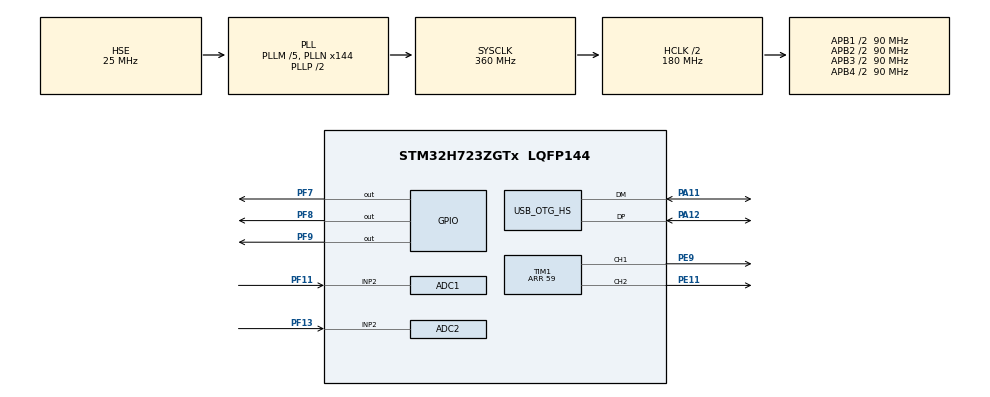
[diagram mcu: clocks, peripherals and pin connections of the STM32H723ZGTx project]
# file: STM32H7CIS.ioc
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ADC1.BoostMode=ENABLE
ADC1.Channel-0\#ChannelRegularConversion=ADC_CHANNEL_2
ADC1.ClockPrescaler=ADC_CLOCK_ASYNC_DIV1
ADC1.ContinuousConvMode=DISABLE
ADC1.ConversionDataManagement=ADC_CONVERSIONDATA_DMA_CIRCULAR
ADC1.EnableMultiSlaveMode=true
ADC1.ExternalTrigConv=ADC_EXTERNALTRIG_T1_TRGO
ADC1.ExternalTrigConvEdge=ADC_EXTERNALTRIGCONVEDGE_RISING
ADC1.Mode=ADC_MODE_INDEPENDENT
ADC1.NbrOfConversionFlag=1
ADC1.OffsetNumber-0\#ChannelRegularConversion=ADC_OFFSET_NONE
ADC1.OffsetSignedSaturation-0\#ChannelRegularConversion=DISABLE
ADC1.Rank-0\#ChannelRegularConversion=1
ADC1.Resolution=ADC_RESOLUTION_8B
ADC1.SamplingTime-0\#ChannelRegularConversion=ADC_SAMPLETIME_2CYCLES_5
ADC1.master=1
ADC2.BoostMode=ENABLE
ADC2.Channel-0\#ChannelRegularConversion=ADC_CHANNEL_2
ADC2.ClockPrescaler=ADC_CLOCK_ASYNC_DIV1
ADC2.ContinuousConvMode=DISABLE
ADC2.ConversionDataManagement=ADC_CONVERSIONDATA_DMA_CIRCULAR
ADC2.ExternalTrigConv=ADC_EXTERNALTRIG_T1_TRGO
ADC2.NbrOfConversion=1
ADC2.NbrOfConversionFlag=1
ADC2.OffsetNumber-0\#ChannelRegularConversion=ADC_OFFSET_NONE
ADC2.OffsetSignedSaturation-0\#ChannelRegularConversion=DISABLE
ADC2.Rank-0\#ChannelRegularConversion=1
ADC2.Resolution=ADC_RESOLUTION_8B
ADC2.SamplingTime-0\#ChannelRegularConversion=ADC_SAMPLETIME_2CYCLES_5
CORTEX_M7.default_mode_Activation=1
Dma.ADC1.0.Direction=DMA_PERIPH_TO_MEMORY
Dma.ADC1.0.EventEnable=DISABLE
Dma.ADC1.0.FIFOMode=DMA_FIFOMODE_DISABLE
Dma.ADC1.0.Instance=DMA1_Stream0
Dma.ADC1.0.MemDataAlignment=DMA_MDATAALIGN_HALFWORD
Dma.ADC1.0.MemInc=DMA_MINC_ENABLE
Dma.ADC1.0.Mode=DMA_CIRCULAR
Dma.ADC1.0.PeriphDataAlignment=DMA_PDATAALIGN_HALFWORD
Dma.ADC1.0.PeriphInc=DMA_PINC_DISABLE
Dma.ADC1.0.Polarity=HAL_DMA_TRANSFER_ALL
Dma.ADC1.0.Priority=DMA_PRIORITY_VERY_HIGH
Dma.ADC1.0.RequestNumber=1
Dma.ADC1.0.SignalID=NONE
Dma.ADC1.0.SyncEnable=DISABLE
Dma.ADC1.0.SyncPolarity=HAL_DMAMUX_SYNC_NO_EVENT
Dma.ADC1.0.SyncRequestNumber=1
Dma.ADC1.0.SyncSignalID=NONE
Dma.ADC2.1.Direction=DMA_PERIPH_TO_MEMORY
Dma.ADC2.1.EventEnable=DISABLE
Dma.ADC2.1.FIFOMode=DMA_FIFOMODE_DISABLE
Dma.ADC2.1.Instance=DMA1_Stream1
Dma.ADC2.1.MemDataAlignment=DMA_MDATAALIGN_HALFWORD
Dma.ADC2.1.MemInc=DMA_MINC_ENABLE
Dma.ADC2.1.Mode=DMA_CIRCULAR
Dma.ADC2.1.PeriphDataAlignment=DMA_PDATAALIGN_HALFWORD
Dma.ADC2.1.PeriphInc=DMA_PINC_DISABLE
Dma.ADC2.1.Polarity=HAL_DMA_TRANSFER_ALL
Dma.ADC2.1.Priority=DMA_PRIORITY_VERY_HIGH
Dma.ADC2.1.RequestNumber=1
Dma.ADC2.1.SignalID=NONE
Dma.ADC2.1.SyncEnable=DISABLE
Dma.ADC2.1.SyncPolarity=HAL_DMAMUX_SYNC_NO_EVENT
Dma.ADC2.1.SyncRequestNumber=1
Dma.ADC2.1.SyncSignalID=NONE
Dma.Request0=ADC1
Dma.Request1=ADC2
Mcu.Family=STM32H7
Mcu.Name=STM32H723ZGTx
Mcu.Package=LQFP144
NVIC.ADC_IRQn=true\:0\:0\:false\:false\:true\:false\:true\:true
NVIC.DMA1_Stream0_IRQn=true\:0\:0\:false\:false\:true\:false\:true\:true
NVIC.DMA1_Stream1_IRQn=true\:0\:0\:false\:false\:true\:false\:true\:true
NVIC.OTG_HS_IRQn=true\:0\:0\:false\:false\:true\:false\:true\:true
NVIC.PriorityGroup=NVIC_PRIORITYGROUP_4
PA11.Mode=Device_Only_FS
PA11.Signal=USB_OTG_HS_DM
PA12.Mode=Device_Only_FS
PA12.Signal=USB_OTG_HS_DP
PC14-OSC32_IN.Mode=LSE-External-Oscillator
PC14-OSC32_IN.Signal=RCC_OSC32_IN
PC15-OSC32_OUT.Mode=LSE-External-Oscillator
PC15-OSC32_OUT.Signal=RCC_OSC32_OUT
PE11.Signal=S_TIM1_CH2
PE9.Signal=S_TIM1_CH1
PF11.Mode=IN2-Single-Ended
PF11.Signal=ADC1_INP2
PF13.Mode=IN2-Single-Ended
PF13.Signal=ADC2_INP2
PF7.Signal=GPIO_Output
PF8.Signal=GPIO_Output
PF9.Signal=GPIO_Output
PH0-OSC_IN.Mode=HSE-External-Oscillator
PH0-OSC_IN.Signal=RCC_OSC_IN
PH1-OSC_OUT.Mode=HSE-External-Oscillator
PH1-OSC_OUT.Signal=RCC_OSC_OUT
ProjectManager.HeapSize=0x200
ProjectManager.StackSize=0x400
ProjectManager.TargetToolchain=STM32CubeIDE
RCC.ADCFreq_Value=50000000
RCC.APB1Freq_Value=90000000
RCC.APB2Freq_Value=90000000
RCC.APB3Freq_Value=90000000
RCC.APB4Freq_Value=90000000
RCC.CortexFreq_Value=360000000
RCC.D1PPRE=RCC_APB3_DIV2
RCC.D2PPRE1=RCC_APB1_DIV2
RCC.D2PPRE2=RCC_APB2_DIV2
RCC.D3PPRE=RCC_APB4_DIV2
RCC.DIVM1=5
RCC.DIVM2=5
RCC.DIVN1=144
RCC.DIVN2=40
RCC.DIVP2=4
RCC.DIVQ1=5
RCC.HCLKFreq_Value=180000000
RCC.HPRE=RCC_HCLK_DIV2
RCC.HSE_VALUE=25000000
RCC.PLL2FRACN=0
RCC.PLLFRACN=0
RCC.PLLSourceVirtual=RCC_PLLSOURCE_HSE
RCC.SYSCLKFreq_VALUE=360000000
RCC.SYSCLKSource=RCC_SYSCLKSOURCE_PLLCLK
RCC.USBCLockSelection=RCC_USBCLKSOURCE_HSI48
RCC.USBFreq_Value=48000000
SH.S_TIM1_CH1.0=TIM1_CH1,PWM Generation1 CH1
SH.S_TIM1_CH2.0=TIM1_CH2,PWM Generation2 CH2
TIM1.AutoReloadPreload=TIM_AUTORELOAD_PRELOAD_ENABLE
TIM1.Channel-PWM\ Generation1\ CH1=TIM_CHANNEL_1
TIM1.Channel-PWM\ Generation2\ CH2=TIM_CHANNEL_2
TIM1.Period=59
TIM1.Pulse-PWM\ Generation1\ CH1=30
TIM1.Pulse-PWM\ Generation2\ CH2=30
TIM1.TIM_MasterOutputTrigger=TIM_TRGO_UPDATE
TIM1.TIM_MasterSlaveMode=TIM_MASTERSLAVEMODE_DISABLE
USB_DEVICE.CLASS_NAME_HS=CDC
USB_DEVICE.VirtualMode=Cdc
USB_DEVICE.VirtualModeHS=Cdc_HS
USB_OTG_HS.VirtualMode-Device_Only_FS=Device_Only_FS
VP_MEMORYMAP_VS_MEMORYMAP.Mode=CurAppReg
VP_TIM1_VS_ClockSourceINT.Mode=Internal
VP_USB_DEVICE_VS_USB_DEVICE_CDC_HS.Mode=CDC_HS
board=custom

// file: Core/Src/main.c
/* USER CODE BEGIN Header */
/**
  ******************************************************************************
  * @file           : main.c
  * @brief          : Main program body
  *
  * CIS scanner front-end (STM32H723 @ 360 MHz SYSCLK / 180 MHz TIM1 kernel).
  *
  * Timing summary:
  *   TIM1 kernel clock ........ 180 MHz  (SYSCLK 360 -> AHB /2 -> APB2 /2 -> x2)
  *   TIM1 update rate ......... 3 MHz    (ARR = 59  ->  180 / 60)
  *   ADC trigger (T1_TRGO) .... 3 MHz    (one conversion per update)
  *   CLK on PE9 / TIM1_CH1 .... 1.5 MHz  (toggle mode: one toggle per update)
  *   Trigger on PE11/TIM1_CH2.. DMA-shaped pulse, N update periods wide
  *
  * The CLK is a free-running 1.5 MHz square wave generated purely in hardware
  * (output-compare toggle) and phase-locked to the ADC sampling instants.
  * The line-start trigger is shaped by a single TIM1_UP -> CCR2 DMA stream.
  ******************************************************************************
  */
/* USER CODE END Header */
#include "main.h"
#include "usb_device.h"

/* USER CODE BEGIN Includes */
#include "usbd_cdc_if.h"
/* USER CODE END Includes */

ADC_HandleTypeDef hadc1;
ADC_HandleTypeDef hadc2;
DMA_HandleTypeDef hdma_adc1;
DMA_HandleTypeDef hdma_adc2;

TIM_HandleTypeDef htim1;

/* USER CODE BEGIN PV */

#define ADC_BUF_LEN 10200u            /* samples PER channel (half a line)     */

/* Buffers live in DTCM (0x20000000) -> not cached, so NO cache maintenance
 * needed. The linker section ".dtcmram" exists in the default STM32H7 ld file
 * (RAM_DTCM). If your .ld names it differently, adjust the section string.    */
__attribute__((section(".dtcmram"), aligned(32)))
uint16_t adc1_buf[ADC_BUF_LEN];       /* AN_1 / sensor half 1                  */
__attribute__((section(".dtcmram"), aligned(32)))
uint16_t adc2_buf[ADC_BUF_LEN];       /* AN_2 / sensor half 2                  */

volatile uint8_t  g_capture_request = 0;   /* set by USB 's' command           */
volatile uint8_t  g_buffer_ready    = 0;   /* set by ADC1 DMA-complete ISR     */

/* Trigger pulse width, expressed in TIM1 UPDATE periods (not CLK cycles).
 * CLK = 1.5 MHz = one full cycle per 2 update periods, so:
 *     16 CLK cycles  =  32 update periods  ->  g_trigger_width = 32            */
volatile uint16_t g_trigger_width   = 32;  /* 16 CLK cycles high                */

/* --- Multi-cycle trigger pulse (PE11 / TIM1_CH2) ------------------------- */
/* The trigger can stay high for a whole number of UPDATE periods. A DMA stream
 * fed by the TIM1 update event rewrites CCR2 once per update:
 *   N entries of (ARR+1) = 100 % duty (pin high the whole period),
 *   then one 0 entry that drops the pin.
 * Pulse width is therefore exactly N update periods, hardware-timed, no ISR.  */
#define TRIG_MAX_CYCLES 1024u         /* upper bound for the pulse length      */

/* NOTE: this buffer is read by DMA1 (D2 domain), which CANNOT access DTCM on
 * the H7 - so unlike the ADC buffers above it must stay in default RAM
 * (RAM_D1 / AXI SRAM in the stock CubeMX .ld). D-cache is disabled in this
 * project, so no cache maintenance is required either.                       */
static uint16_t trig_dma_buf[TRIG_MAX_CYCLES + 1u];
static DMA_HandleTypeDef hdma_tim1_up;   /* DMA1_Stream2 <- TIM1_UP -> CCR2    */
/* USER CODE END PV */

void SystemClock_Config(void);
void PeriphCommonClock_Config(void);
static void MPU_Config(void);
static void MX_GPIO_Init(void);
static void MX_DMA_Init(void);
static void MX_ADC1_Init(void);
static void MX_ADC2_Init(void);
static void MX_TIM1_Init(void);
/* USER CODE BEGIN PFP */
void CIS_StartCapture(void);
void CIS_SetLED(char color);
void CIS_FireTrigger(uint16_t width_periods);
static void CIS_TriggerDMA_Init(void);
/* USER CODE END PFP */

int main(void)
{

  /* MPU Configuration--------------------------------------------------------*/
  MPU_Config();

  /* MCU Configuration--------------------------------------------------------*/

  /* Reset of all peripherals, Initializes the Flash interface and the Systick. */
  HAL_Init();

  /* Configure the system clock */
  SystemClock_Config();

  /* Configure the peripherals common clocks */
  PeriphCommonClock_Config();

  /* Initialize all configured peripherals */
  MX_GPIO_Init();
  MX_DMA_Init();
  MX_ADC1_Init();
  MX_ADC2_Init();
  MX_TIM1_Init();
  MX_USB_DEVICE_Init();
  /* USER CODE BEGIN 2 */
  HAL_ADCEx_Calibration_Start(&hadc1, ADC_CALIB_OFFSET, ADC_SINGLE_ENDED);
  HAL_ADCEx_Calibration_Start(&hadc2, ADC_CALIB_OFFSET, ADC_SINGLE_ENDED);

  /* One-time init of the trigger DMA (TIM1_UP -> CCR2). Note: the TIM update
   * DMA request (UDE) is left DISABLED here; CIS_FireTrigger() enables it only
   * for the duration of a pulse.                                             */
  CIS_TriggerDMA_Init();

  /* CLK on PE9 (TIM1_CH1, toggle mode): free-running 1.5 MHz, always on.     */
  HAL_TIM_OC_Start(&htim1, TIM_CHANNEL_1);

  /* Trigger on PE11 (TIM1_CH2): idle low until a line is requested.          */
  __HAL_TIM_SET_COMPARE(&htim1, TIM_CHANNEL_2, 0);   /* 0 width = no pulse yet */
  HAL_TIM_PWM_Start(&htim1, TIM_CHANNEL_2);

  /* LEDs off initially (active-low drive: SET = off). */
  HAL_GPIO_WritePin(GPIOF, GPIO_PIN_7|GPIO_PIN_8|GPIO_PIN_9, GPIO_PIN_SET);

  /* Start the timer base last: this begins the 3 MHz update stream that drives
   * both the ADC trigger (T1_TRGO) and the 1.5 MHz CLK toggle.               */
  HAL_TIM_Base_Start(&htim1);
  /* USER CODE END 2 */

  /* Infinite loop */
  /* USER CODE BEGIN WHILE */
  while (1)
  {
    /* A capture was requested by the PC ('s' command) */
    if (g_capture_request)
    {
      g_capture_request = 0;
      CIS_StartCapture();
    }

    /* The dual-ADC DMA finished filling both halves */
    if (g_buffer_ready)
    {
      g_buffer_ready = 0;

      /* DTCM buffers are not cached -> data is already coherent, no invalidate.
       * Stream both halves back over USB CDC. CDC_Transmit_HS may return BUSY
       * while a previous packet is in flight, so we retry.                    */
      while (CDC_Transmit_HS((uint8_t*)adc1_buf, ADC_BUF_LEN * 2) == USBD_BUSY) { }
      while (CDC_Transmit_HS((uint8_t*)adc2_buf, ADC_BUF_LEN * 2) == USBD_BUSY) { }
    }
    /* USER CODE END WHILE */

  }
}

void SystemClock_Config(void)
{
  RCC_OscInitTypeDef RCC_OscInitStruct = {0};
  RCC_ClkInitTypeDef RCC_ClkInitStruct = {0};

  /** Supply configuration update enable
  */
  HAL_PWREx_ConfigSupply(PWR_LDO_SUPPLY);

  /** Configure the main internal regulator output voltage
  */
  __HAL_PWR_VOLTAGESCALING_CONFIG(PWR_REGULATOR_VOLTAGE_SCALE1);

  while(!__HAL_PWR_GET_FLAG(PWR_FLAG_VOSRDY)) {}

  /** Initializes the RCC Oscillators according to the specified parameters
  * in the RCC_OscInitTypeDef structure.
  */
  RCC_OscInitStruct.OscillatorType = RCC_OSCILLATORTYPE_HSI48|RCC_OSCILLATORTYPE_HSE;
  RCC_OscInitStruct.HSEState = RCC_HSE_ON;
  RCC_OscInitStruct.HSI48State = RCC_HSI48_ON;
  RCC_OscInitStruct.PLL.PLLState = RCC_PLL_ON;
  RCC_OscInitStruct.PLL.PLLSource = RCC_PLLSOURCE_HSE;
  RCC_OscInitStruct.PLL.PLLM = 5;
  RCC_OscInitStruct.PLL.PLLN = 144;
  RCC_OscInitStruct.PLL.PLLP = 2;
  RCC_OscInitStruct.PLL.PLLQ = 5;
  RCC_OscInitStruct.PLL.PLLR = 2;
  RCC_OscInitStruct.PLL.PLLRGE = RCC_PLL1VCIRANGE_2;
  RCC_OscInitStruct.PLL.PLLVCOSEL = RCC_PLL1VCOWIDE;
  RCC_OscInitStruct.PLL.PLLFRACN = 0;
  if (HAL_RCC_OscConfig(&RCC_OscInitStruct) != HAL_OK)
  {
    Error_Handler();
  }

  /** Initializes the CPU, AHB and APB buses clocks
  */
  RCC_ClkInitStruct.ClockType = RCC_CLOCKTYPE_HCLK|RCC_CLOCKTYPE_SYSCLK
                              |RCC_CLOCKTYPE_PCLK1|RCC_CLOCKTYPE_PCLK2
                              |RCC_CLOCKTYPE_D3PCLK1|RCC_CLOCKTYPE_D1PCLK1;
  RCC_ClkInitStruct.SYSCLKSource = RCC_SYSCLKSOURCE_PLLCLK;
  RCC_ClkInitStruct.SYSCLKDivider = RCC_SYSCLK_DIV1;
  RCC_ClkInitStruct.AHBCLKDivider = RCC_HCLK_DIV2;
  RCC_ClkInitStruct.APB3CLKDivider = RCC_APB3_DIV2;
  RCC_ClkInitStruct.APB1CLKDivider = RCC_APB1_DIV2;
  RCC_ClkInitStruct.APB2CLKDivider = RCC_APB2_DIV2;
  RCC_ClkInitStruct.APB4CLKDivider = RCC_APB4_DIV2;

  if (HAL_RCC_ClockConfig(&RCC_ClkInitStruct, FLASH_LATENCY_2) != HAL_OK)
  {
    Error_Handler();
  }
}

void PeriphCommonClock_Config(void)
{
  RCC_PeriphCLKInitTypeDef PeriphClkInitStruct = {0};

  /** Initializes the peripherals clock
  */
  PeriphClkInitStruct.PeriphClockSelection = RCC_PERIPHCLK_ADC;
  PeriphClkInitStruct.PLL2.PLL2M = 5;
  PeriphClkInitStruct.PLL2.PLL2N = 40;
  PeriphClkInitStruct.PLL2.PLL2P = 4;
  PeriphClkInitStruct.PLL2.PLL2Q = 2;
  PeriphClkInitStruct.PLL2.PLL2R = 2;
  PeriphClkInitStruct.PLL2.PLL2RGE = RCC_PLL2VCIRANGE_2;
  PeriphClkInitStruct.PLL2.PLL2VCOSEL = RCC_PLL2VCOWIDE;
  PeriphClkInitStruct.PLL2.PLL2FRACN = 0;
  PeriphClkInitStruct.AdcClockSelection = RCC_ADCCLKSOURCE_PLL2;
  if (HAL_RCCEx_PeriphCLKConfig(&PeriphClkInitStruct) != HAL_OK)
  {
    Error_Handler();
  }
}

static void MX_ADC1_Init(void)
{

  ADC_MultiModeTypeDef multimode = {0};
  ADC_ChannelConfTypeDef sConfig = {0};

  /** Common config
  */
  hadc1.Instance = ADC1;
  hadc1.Init.ClockPrescaler = ADC_CLOCK_ASYNC_DIV1;
  hadc1.Init.Resolution = ADC_RESOLUTION_8B;
  hadc1.Init.ScanConvMode = ADC_SCAN_DISABLE;
  hadc1.Init.EOCSelection = ADC_EOC_SINGLE_CONV;
  hadc1.Init.LowPowerAutoWait = DISABLE;
  hadc1.Init.ContinuousConvMode = DISABLE;
  hadc1.Init.NbrOfConversion = 1;
  hadc1.Init.DiscontinuousConvMode = DISABLE;
  hadc1.Init.ExternalTrigConv = ADC_EXTERNALTRIG_T1_TRGO;
  hadc1.Init.ExternalTrigConvEdge = ADC_EXTERNALTRIGCONVEDGE_RISING;
  hadc1.Init.ConversionDataManagement = ADC_CONVERSIONDATA_DMA_CIRCULAR;
  hadc1.Init.Overrun = ADC_OVR_DATA_PRESERVED;
  hadc1.Init.LeftBitShift = ADC_LEFTBITSHIFT_NONE;
  hadc1.Init.OversamplingMode = DISABLE;
  hadc1.Init.Oversampling.Ratio = 1;
  if (HAL_ADC_Init(&hadc1) != HAL_OK)
  {
    Error_Handler();
  }

  /** Configure the ADC multi-mode
  */
  multimode.Mode = ADC_MODE_INDEPENDENT;
  if (HAL_ADCEx_MultiModeConfigChannel(&hadc1, &multimode) != HAL_OK)
  {
    Error_Handler();
  }

  /** Configure Regular Channel
  */
  sConfig.Channel = ADC_CHANNEL_2;
  sConfig.Rank = ADC_REGULAR_RANK_1;
  sConfig.SamplingTime = ADC_SAMPLETIME_2CYCLES_5;
  sConfig.SingleDiff = ADC_SINGLE_ENDED;
  sConfig.OffsetNumber = ADC_OFFSET_NONE;
  sConfig.Offset = 0;
  sConfig.OffsetSignedSaturation = DISABLE;
  if (HAL_ADC_ConfigChannel(&hadc1, &sConfig) != HAL_OK)
  {
    Error_Handler();
  }

}

static void MX_ADC2_Init(void)
{

  ADC_ChannelConfTypeDef sConfig = {0};

  /** Common config
  */
  hadc2.Instance = ADC2;
  hadc2.Init.ClockPrescaler = ADC_CLOCK_ASYNC_DIV1;
  hadc2.Init.Resolution = ADC_RESOLUTION_8B;
  hadc2.Init.ScanConvMode = ADC_SCAN_DISABLE;
  hadc2.Init.EOCSelection = ADC_EOC_SINGLE_CONV;
  hadc2.Init.LowPowerAutoWait = DISABLE;
  hadc2.Init.ContinuousConvMode = DISABLE;
  hadc2.Init.NbrOfConversion = 1;
  hadc2.Init.DiscontinuousConvMode = DISABLE;
  hadc2.Init.ExternalTrigConv = ADC_EXTERNALTRIG_T1_TRGO;
  hadc2.Init.ExternalTrigConvEdge = ADC_EXTERNALTRIGCONVEDGE_RISING;
  hadc2.Init.ConversionDataManagement = ADC_CONVERSIONDATA_DMA_CIRCULAR;
  hadc2.Init.Overrun = ADC_OVR_DATA_PRESERVED;
  hadc2.Init.LeftBitShift = ADC_LEFTBITSHIFT_NONE;
  hadc2.Init.OversamplingMode = DISABLE;
  hadc2.Init.Oversampling.Ratio = 1;
  if (HAL_ADC_Init(&hadc2) != HAL_OK)
  {
    Error_Handler();
  }

  /** Configure Regular Channel
  */
  sConfig.Channel = ADC_CHANNEL_2;
  sConfig.Rank = ADC_REGULAR_RANK_1;
  sConfig.SamplingTime = ADC_SAMPLETIME_2CYCLES_5;
  sConfig.SingleDiff = ADC_SINGLE_ENDED;
  sConfig.OffsetNumber = ADC_OFFSET_NONE;
  sConfig.Offset = 0;
  sConfig.OffsetSignedSaturation = DISABLE;
  if (HAL_ADC_ConfigChannel(&hadc2, &sConfig) != HAL_OK)
  {
    Error_Handler();
  }

}

static void MX_TIM1_Init(void)
{

  TIM_ClockConfigTypeDef sClockSourceConfig = {0};
  TIM_MasterConfigTypeDef sMasterConfig = {0};
  TIM_OC_InitTypeDef sConfigOC = {0};
  TIM_BreakDeadTimeConfigTypeDef sBreakDeadTimeConfig = {0};

  htim1.Instance = TIM1;
  htim1.Init.Prescaler = 0;
  htim1.Init.CounterMode = TIM_COUNTERMODE_UP;
  htim1.Init.Period = 59;
  htim1.Init.ClockDivision = TIM_CLOCKDIVISION_DIV1;
  htim1.Init.RepetitionCounter = 0;
  htim1.Init.AutoReloadPreload = TIM_AUTORELOAD_PRELOAD_ENABLE;
  if (HAL_TIM_Base_Init(&htim1) != HAL_OK)
  {
    Error_Handler();
  }
  sClockSourceConfig.ClockSource = TIM_CLOCKSOURCE_INTERNAL;
  if (HAL_TIM_ConfigClockSource(&htim1, &sClockSourceConfig) != HAL_OK)
  {
    Error_Handler();
  }
  if (HAL_TIM_PWM_Init(&htim1) != HAL_OK)
  {
    Error_Handler();
  }
  if (HAL_TIM_OC_Init(&htim1) != HAL_OK)
  {
    Error_Handler();
  }
  sMasterConfig.MasterOutputTrigger = TIM_TRGO_UPDATE;
  sMasterConfig.MasterOutputTrigger2 = TIM_TRGO2_RESET;
  sMasterConfig.MasterSlaveMode = TIM_MASTERSLAVEMODE_DISABLE;
  if (HAL_TIMEx_MasterConfigSynchronization(&htim1, &sMasterConfig) != HAL_OK)
  {
    Error_Handler();
  }

  /* CH1 (PE9) - CLK: toggle mode. Output flips once per update event, so the
   * pin runs at half the 3 MHz update rate = 1.5 MHz, 50 % duty. The compare
   * value only sets the phase of the toggle within the period; keep it away
   * from 0/ARR so the edge doesn't coincide with the ADC sampling instant.   */
  sConfigOC.OCMode = TIM_OCMODE_TOGGLE;
  sConfigOC.Pulse = 30;
  sConfigOC.OCPolarity = TIM_OCPOLARITY_HIGH;
  sConfigOC.OCNPolarity = TIM_OCNPOLARITY_HIGH;
  sConfigOC.OCFastMode = TIM_OCFAST_DISABLE;
  sConfigOC.OCIdleState = TIM_OCIDLESTATE_RESET;
  sConfigOC.OCNIdleState = TIM_OCNIDLESTATE_RESET;
  if (HAL_TIM_OC_ConfigChannel(&htim1, &sConfigOC, TIM_CHANNEL_1) != HAL_OK)
  {
    Error_Handler();
  }

  /* CH2 (PE11) - trigger: PWM1. Idle CCR2 = 0 (pin low); CIS_FireTrigger()
   * streams (ARR+1) values via DMA to hold it high for N update periods.     */
  sConfigOC.OCMode = TIM_OCMODE_PWM1;
  sConfigOC.Pulse = 0;
  if (HAL_TIM_PWM_ConfigChannel(&htim1, &sConfigOC, TIM_CHANNEL_2) != HAL_OK)
  {
    Error_Handler();
  }
  sBreakDeadTimeConfig.OffStateRunMode = TIM_OSSR_DISABLE;
  sBreakDeadTimeConfig.OffStateIDLEMode = TIM_OSSI_DISABLE;
  sBreakDeadTimeConfig.LockLevel = TIM_LOCKLEVEL_OFF;
  sBreakDeadTimeConfig.DeadTime = 0;
  sBreakDeadTimeConfig.BreakState = TIM_BREAK_DISABLE;
  sBreakDeadTimeConfig.BreakPolarity = TIM_BREAKPOLARITY_HIGH;
  sBreakDeadTimeConfig.BreakFilter = 0;
  sBreakDeadTimeConfig.Break2State = TIM_BREAK2_DISABLE;
  sBreakDeadTimeConfig.Break2Polarity = TIM_BREAK2POLARITY_HIGH;
  sBreakDeadTimeConfig.Break2Filter = 0;
  sBreakDeadTimeConfig.AutomaticOutput = TIM_AUTOMATICOUTPUT_DISABLE;
  if (HAL_TIMEx_ConfigBreakDeadTime(&htim1, &sBreakDeadTimeConfig) != HAL_OK)
  {
    Error_Handler();
  }
  HAL_TIM_MspPostInit(&htim1);

}

static void MX_DMA_Init(void)
{

  /* DMA controller clock enable */
  __HAL_RCC_DMA1_CLK_ENABLE();

  /* DMA interrupt init */
  /* DMA1_Stream0_IRQn interrupt configuration */
  HAL_NVIC_SetPriority(DMA1_Stream0_IRQn, 0, 0);
  HAL_NVIC_EnableIRQ(DMA1_Stream0_IRQn);
  /* DMA1_Stream1_IRQn interrupt configuration */
  HAL_NVIC_SetPriority(DMA1_Stream1_IRQn, 0, 0);
  HAL_NVIC_EnableIRQ(DMA1_Stream1_IRQn);

}

static void MX_GPIO_Init(void)
{
  GPIO_InitTypeDef GPIO_InitStruct = {0};

  /* GPIO Ports Clock Enable */
  __HAL_RCC_GPIOC_CLK_ENABLE();
  __HAL_RCC_GPIOF_CLK_ENABLE();
  __HAL_RCC_GPIOH_CLK_ENABLE();
  __HAL_RCC_GPIOE_CLK_ENABLE();
  __HAL_RCC_GPIOA_CLK_ENABLE();

  /*Configure GPIO pin Output Level */
  HAL_GPIO_WritePin(GPIOF, GPIO_PIN_7|GPIO_PIN_8|GPIO_PIN_9, GPIO_PIN_RESET);

  /*Configure GPIO pins : PF7 PF8 PF9 */
  GPIO_InitStruct.Pin = GPIO_PIN_7|GPIO_PIN_8|GPIO_PIN_9;
  GPIO_InitStruct.Mode = GPIO_MODE_OUTPUT_PP;
  GPIO_InitStruct.Pull = GPIO_NOPULL;
  GPIO_InitStruct.Speed = GPIO_SPEED_FREQ_LOW;
  HAL_GPIO_Init(GPIOF, &GPIO_InitStruct);

}

/* USER CODE BEGIN 4 */

/* One-time init of the DMA stream that feeds CCR2 from the TIM1 update event.
 * DMA1 clock is already enabled by MX_DMA_Init(); Stream2 is free (Stream0/1
 * belong to the ADCs). Runs without interrupts - CIS_FireTrigger() aborts the
 * stream before re-arming it.                                                */
static void CIS_TriggerDMA_Init(void)
{
  hdma_tim1_up.Instance                 = DMA1_Stream2;
  hdma_tim1_up.Init.Request             = DMA_REQUEST_TIM1_UP;
  hdma_tim1_up.Init.Direction           = DMA_MEMORY_TO_PERIPH;
  hdma_tim1_up.Init.PeriphInc           = DMA_PINC_DISABLE;
  hdma_tim1_up.Init.MemInc              = DMA_MINC_ENABLE;
  hdma_tim1_up.Init.PeriphDataAlignment = DMA_PDATAALIGN_HALFWORD;
  hdma_tim1_up.Init.MemDataAlignment    = DMA_MDATAALIGN_HALFWORD;
  hdma_tim1_up.Init.Mode                = DMA_NORMAL;
  hdma_tim1_up.Init.Priority            = DMA_PRIORITY_HIGH;
  hdma_tim1_up.Init.FIFOMode            = DMA_FIFOMODE_DISABLE;
  if (HAL_DMA_Init(&hdma_tim1_up) != HAL_OK)
  {
    Error_Handler();
  }
}

/* Emit a trigger pulse on PE11 (CH2) that stays high for width_periods WHOLE
 * update periods (16 CLK cycles = 32 update periods).
 *
 * CCR2 alone cannot span more than one timer period (ARR=59), so instead the
 * TIM1 update event streams a per-period CCR2 value out of trig_dma_buf:
 *   { ARR+1, ARR+1, ..., ARR+1, 0 }
 *    \_____ N entries ________/  ^-- ends the pulse
 * CCR2 = ARR+1 means 100 % duty (high for the full period); the final 0 drops
 * the pin. CCR2 preload is enabled (PWM mode), so every value takes effect on
 * the next update -> both edges land on update boundaries and the width is
 * exact regardless of CPU/IRQ load.                                          */
void CIS_FireTrigger(uint16_t width_periods)
{
  if (width_periods == 0u)
  {
    return;                                   /* nothing to emit              */
  }
  if (width_periods > TRIG_MAX_CYCLES)
  {
    width_periods = TRIG_MAX_CYCLES;
  }

  /* Kill any pulse still in flight. The Abort also returns the HAL DMA handle
   * to READY (mandatory before HAL_DMA_Start when nothing services the
   * transfer-complete flag). Forcing CCR2=0 ends an aborted pulse at the next
   * update.                                                                  */
  HAL_DMA_Abort(&hdma_tim1_up);
  __HAL_TIM_DISABLE_DMA(&htim1, TIM_DMA_UPDATE);
  __HAL_TIM_SET_COMPARE(&htim1, TIM_CHANNEL_2, 0);

  uint16_t full = (uint16_t)(__HAL_TIM_GET_AUTORELOAD(&htim1) + 1u);
  for (uint16_t i = 0; i < width_periods; i++)
  {
    trig_dma_buf[i] = full;
  }
  trig_dma_buf[width_periods] = 0u;

  /* One DMA transfer per update event into CCR2. */
  if (HAL_DMA_Start(&hdma_tim1_up, (uint32_t)trig_dma_buf,
                    (uint32_t)&htim1.Instance->CCR2,
                    (uint32_t)width_periods + 1u) == HAL_OK)
  {
    __HAL_TIM_ENABLE_DMA(&htim1, TIM_DMA_UPDATE);
  }
}

/* Arm the dual ADC + DMA, then emit the trigger. DMA is armed FIRST so no
 * leading samples are missed once the trigger edges arrive.                  */
void CIS_StartCapture(void)
{
  HAL_StatusTypeDef s2, s1;
  g_buffer_ready = 0;
  HAL_ADC_Stop_DMA(&hadc1);
  HAL_ADC_Stop_DMA(&hadc2);

  s2 = HAL_ADC_Start_DMA(&hadc2, (uint32_t*)adc2_buf, ADC_BUF_LEN);
  s1 = HAL_ADC_Start_DMA(&hadc1, (uint32_t*)adc1_buf, ADC_BUF_LEN);

  /* DEBUG: if either start failed, send an error byte back so the host sees it */
  if (s1 != HAL_OK || s2 != HAL_OK) {
    uint8_t err[2] = {0xEE, (uint8_t)(s1<<4 | s2)};
    while (CDC_Transmit_HS(err, 2) == USBD_BUSY) {}
  }
  CIS_FireTrigger(g_trigger_width);
}

/* Set the RGB LED state. Mirrors the paper's r/g/b/w/o command set.
 * Assumes active-low drive on PF7=R, PF8=G, PF9=B (RESET = on).              */
void CIS_SetLED(char color)
{
  /* All off first */
  HAL_GPIO_WritePin(GPIOF, GPIO_PIN_7|GPIO_PIN_8|GPIO_PIN_9, GPIO_PIN_SET);
  switch (color)
  {
    case 'r': HAL_GPIO_WritePin(GPIOF, GPIO_PIN_7, GPIO_PIN_RESET); break;
    case 'g': HAL_GPIO_WritePin(GPIOF, GPIO_PIN_8, GPIO_PIN_RESET); break;
    case 'b': HAL_GPIO_WritePin(GPIOF, GPIO_PIN_9, GPIO_PIN_RESET); break;
    case 'w': HAL_GPIO_WritePin(GPIOF, GPIO_PIN_7|GPIO_PIN_8|GPIO_PIN_9, GPIO_PIN_RESET); break;
    case 'o': /* already all off */
    default:  break;
  }
}

/* Dual-mode ADC DMA completion. ADC1 governs timing; we key "ready" off ADC1
 * only so we don't double-fire.                                              */
void HAL_ADC_ConvCpltCallback(ADC_HandleTypeDef *hadc)
{
  if (hadc->Instance == ADC1)
  {
    HAL_ADC_Stop_DMA(&hadc1);
    HAL_ADC_Stop_DMA(&hadc2);
    /* Stop the trigger pulse (CH2 low) until next line. Do NOT touch CH1 -
     * that is the free-running CLK.                                          */
    __HAL_TIM_SET_COMPARE(&htim1, TIM_CHANNEL_2, 0);
    g_buffer_ready = 1;
  }
}
/* USER CODE END 4 */

 /* MPU Configuration */

void MPU_Config(void)
{
  MPU_Region_InitTypeDef MPU_InitStruct = {0};

  /* Disables the MPU */
  HAL_MPU_Disable();

  /** Initializes and configures the Region and the memory to be protected
  */
  MPU_InitStruct.Enable = MPU_REGION_ENABLE;
  MPU_InitStruct.Number = MPU_REGION_NUMBER0;
  MPU_InitStruct.BaseAddress = 0x0;
  MPU_InitStruct.Size = MPU_REGION_SIZE_4GB;
  MPU_InitStruct.SubRegionDisable = 0x87;
  MPU_InitStruct.TypeExtField = MPU_TEX_LEVEL0;
  MPU_InitStruct.AccessPermission = MPU_REGION_NO_ACCESS;
  MPU_InitStruct.DisableExec = MPU_INSTRUCTION_ACCESS_DISABLE;
  MPU_InitStruct.IsShareable = MPU_ACCESS_SHAREABLE;
  MPU_InitStruct.IsCacheable = MPU_ACCESS_NOT_CACHEABLE;
  MPU_InitStruct.IsBufferable = MPU_ACCESS_NOT_BUFFERABLE;

  HAL_MPU_ConfigRegion(&MPU_InitStruct);
  /* Enables the MPU */
  HAL_MPU_Enable(MPU_PRIVILEGED_DEFAULT);

}

void Error_Handler(void)
{
  __disable_irq();
  while (1)
  {
  }
}
